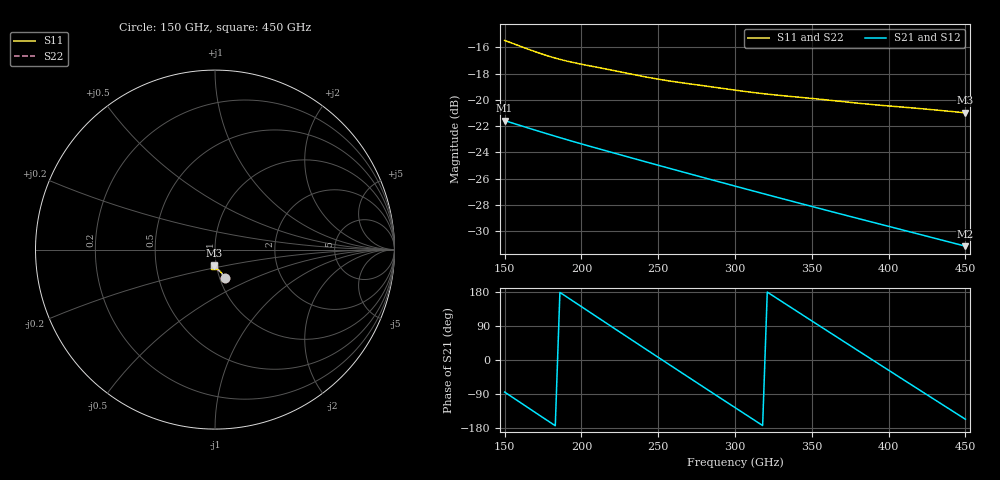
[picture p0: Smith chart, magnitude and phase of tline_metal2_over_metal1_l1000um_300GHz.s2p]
#  GHZ S DB R 50
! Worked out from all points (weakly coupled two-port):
!   101 points, 150 GHz to 450 GHz, reference 50 ohm
!   highest |S21| = -21.58 dB at 150 GHz (marker M1); lowest = -31.1 dB at 450 GHz (marker M2)
!   lowest |S11| = -21.0 dB at 450 GHz (marker M3), VSWR 1.20, Z = 48.6 - j8.73 ohm
!   |S11| at or under -10 dB: start of sweep to end of sweep
!   |S22| runs from -21.2 to -15.5 dB; largest |S21 - S12| = 9.1e-14
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150  -15.49 -70.6  -21.58 -84.6  -21.58 -84.6  -15.53 -70.3
162  -16.00 -72.1  -22.02 -117.0  -22.02 -117.0  -16.03 -71.7
177  -16.62 -73.2  -22.56 -157.4  -22.56 -157.4  -16.60 -72.7
189  -17.01 -73.7  -22.98 170.3  -22.98 170.3  -16.96 -73.2
201  -17.32 -74.3  -23.38 138.1  -23.38 138.1  -17.23 -73.9
213  -17.59 -75.2  -23.78 106.0  -23.78 106.0  -17.47 -75.0
225  -17.87 -76.3  -24.17 73.8  -24.17 73.8  -17.73 -76.3
240  -18.22 -77.5  -24.65 33.7  -24.65 33.7  -18.06 -77.8
252  -18.47 -78.3  -25.04 1.7  -25.04 1.7  -18.31 -78.8
264  -18.68 -79.1  -25.42 -30.2  -25.42 -30.2  -18.52 -79.9
276  -18.87 -80.0  -25.80 -62.1  -25.80 -62.1  -18.72 -81.1
288  -19.07 -81.0  -26.18 -93.8  -26.18 -93.8  -18.93 -82.4
300  -19.26 -82.0  -26.56 -125.5  -26.56 -125.5  -19.16 -83.6
312  -19.44 -82.8  -26.93 -157.2  -26.93 -157.2  -19.38 -84.6
324  -19.60 -83.7  -27.31 171.3  -27.31 171.3  -19.59 -85.6
339  -19.77 -84.8  -27.77 132.0  -27.77 132.0  -19.82 -86.7
351  -19.91 -85.9  -28.14 100.6  -28.14 100.6  -20.00 -87.7
363  -20.05 -86.9  -28.50 69.3  -28.50 69.3  -20.17 -88.6
378  -20.23 -88.2  -28.96 30.2  -28.96 30.2  -20.38 -89.6
402  -20.48 -90.0  -29.68 -32.1  -29.68 -32.1  -20.66 -91.2
426  -20.72 -92.1  -30.40 -94.3  -30.40 -94.3  -20.90 -93.0
450  -20.99 -94.0  -31.13 -156.3  -31.13 -156.3  -21.16 -94.7
